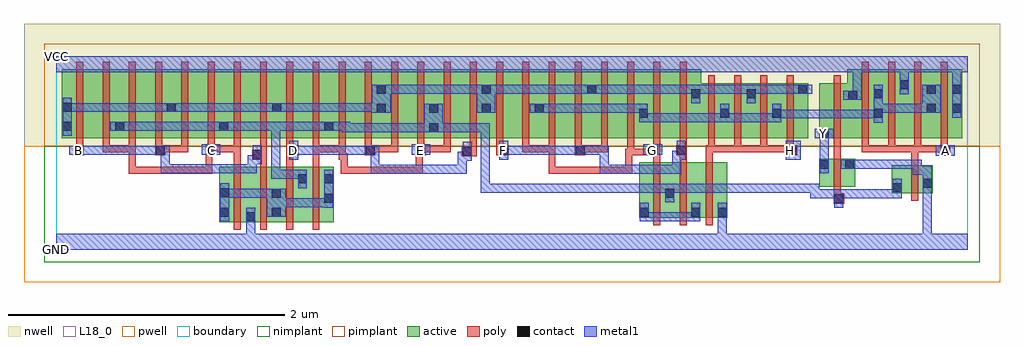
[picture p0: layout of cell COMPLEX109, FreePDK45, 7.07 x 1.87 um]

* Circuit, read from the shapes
.subckt COMPLEX109 A B C D E F G GND H VCC Y
M1 GND C n1 VSUBS nfet w=0.4u l=0.05u
M2 n1 B GND VSUBS nfet w=0.4u l=0.05u
M3 n2 D n1 VSUBS nfet w=0.4u l=0.05u
M4 n1 E n2 VSUBS nfet w=0.4u l=0.05u
M5 n2 G n3 VSUBS nfet w=0.4u l=0.05u
M6 n3 F n2 VSUBS nfet w=0.4u l=0.05u
M7 GND H n3 VSUBS nfet w=0.4u l=0.05u
M8 GND n2 Y VSUBS nfet w=0.2u l=0.05u
M9 GND A n2 VSUBS nfet w=0.2u l=0.05u
M10 n4 B n5 n6 pfet w=0.5u l=0.05u
M11 n2 C n4 n6 pfet w=0.5u l=0.05u
M12 n7 C n2 n6 pfet w=0.5u l=0.05u
M13 n5 B n7 n6 pfet w=0.5u l=0.05u
M14 n8 B n5 n6 pfet w=0.5u l=0.05u
M15 n2 C n8 n6 pfet w=0.5u l=0.05u
M16 n9 C n2 n6 pfet w=0.5u l=0.05u
M17 n5 B n9 n6 pfet w=0.5u l=0.05u
M18 n10 D n5 n6 pfet w=0.5u l=0.05u
M19 n2 E n10 n6 pfet w=0.5u l=0.05u
M20 n11 E n2 n6 pfet w=0.5u l=0.05u
M21 n5 D n11 n6 pfet w=0.5u l=0.05u
M22 n12 D n5 n6 pfet w=0.5u l=0.05u
M23 n2 E n12 n6 pfet w=0.5u l=0.05u
M24 n13 E n2 n6 pfet w=0.5u l=0.05u
M25 n5 D n13 n6 pfet w=0.5u l=0.05u
M26 n14 F n5 n6 pfet w=0.5u l=0.05u
M27 n15 G n14 n6 pfet w=0.5u l=0.05u
M28 n16 G n15 n6 pfet w=0.5u l=0.05u
M29 n5 F n16 n6 pfet w=0.5u l=0.05u
M30 n17 F n5 n6 pfet w=0.5u l=0.05u
M31 n15 G n17 n6 pfet w=0.5u l=0.05u
M32 n18 G n15 n6 pfet w=0.5u l=0.05u
M33 n5 F n18 n6 pfet w=0.5u l=0.05u
M34 n15 H n5 n6 pfet w=0.4u l=0.05u m=4
M35 VCC n2 Y n6 pfet w=0.4u l=0.05u
M36 n15 A VCC n6 pfet w=0.5u l=0.05u m=4
.ends

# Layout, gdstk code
import gdstk
lib = gdstk.Library(unit=1e-6, precision=1e-09)
def R(c, l, rs):  # rectangles x0, y0, x1, y1
    for r in rs: c.add(gdstk.rectangle(r[:2], r[2:], *l))
def A(c, l, x, y, w, h, nx, ny, dx, dy):  # array of equal rectangles
    R(c, l, [(x+i*dx, y+j*dy, x+i*dx+w, y+j*dy+h) for i in range(nx) for j in range(ny)])
active = (1, 0)
pwell = (2, 0)
nwell = (3, 0)
nimplant = (4, 0)
pimplant = (5, 0)
poly = (9, 0)
contact = (10, 0)
metal1 = (11, 0)
L18_0 = (18, 0)
boundary = (235, 0)

complex109 = lib.new_cell('COMPLEX109')
A(complex109, active, 1.175, 0.807, 0.075, 0.263, 3, 1, 0.76, 0)
A(complex109, active, 1.785, 0.807, 0.225, 0.5, 4, 1, 0.38, 0)
A(complex109, active, 1.935, 0.807, 0.23, 0.5, 4, 1, 0.38, 0)
R(complex109, active, [(1.18,0.2,1.445,0.6), (1.18,0.2,1.255,0.492), (1.37,0.2,1.63,0.6), (1.37,0.2,1.445,0.492), (1.555,0.2,1.82,0.6), (1.555,0.2,1.63,0.492), (1.745,0.2,2.01,0.6), (1.935,0.2,2.01,0.6), (4.22,0.232,4.295,0.492), (4.22,0.232,4.48,0.632), (4.405,0.232,4.67,0.632), (4.595,0.232,4.86,0.632), (4.595,0.232,4.67,0.492), (4.785,0.232,4.86,0.632), (1.745,0.295,1.82,0.55), (4.405,0.295,4.48,0.492), (6.052,0.41,6.127,0.61), (6.052,0.41,6.347,0.61), (6.272,0.41,6.347,0.61), (5.525,0.457,5.785,0.657), (5.71,0.457,5.785,0.657), (5.525,0.495,5.6,0.657), (0.04,0.807,0.265,1.307), (0.04,0.807,0.145,1.2), (0.265,0.807,0.495,1.307), (0.42,0.807,0.495,1.07), (0.42,0.807,0.645,1.307), (0.645,0.807,0.87,1.307), (0.795,0.807,0.87,1.2), (0.795,0.807,1.025,1.307), (1.025,0.807,1.25,1.307), (1.175,0.807,1.405,1.307), (1.405,0.807,1.635,1.307), (1.56,0.807,1.635,1.2), (1.56,0.807,1.785,1.307), (2.315,0.807,2.39,1.2), (3.075,0.807,3.15,1.2), (3.305,0.807,3.535,1.307), (3.46,0.807,3.535,1.07), (3.46,0.807,3.685,1.307), (3.685,0.807,3.915,1.307), (3.84,0.807,3.915,1.2), (3.84,0.807,4.065,1.307), (4.065,0.807,4.29,1.307), (4.215,0.807,4.29,1.07), (4.215,0.807,4.445,1.307), (4.445,0.807,4.67,1.307), (4.595,0.807,4.67,1.2), (4.595,0.807,4.88,1.207), (4.805,0.807,5.07,1.207), (4.805,0.807,4.88,1.07), (4.995,0.807,5.255,1.207), (4.995,0.807,5.07,1.2), (5.18,0.807,5.445,1.207), (5.18,0.807,5.255,1.07), (5.525,0.807,5.805,1.207), (5.525,0.807,5.6,0.94), (5.73,0.807,5.99,1.307), (5.915,0.807,5.99,1.2), (5.915,0.807,6.18,1.307), (6.105,0.807,6.18,1.307), (6.105,0.807,6.375,1.307), (6.3,0.807,6.56,1.307), (6.3,0.807,6.375,1.2), (6.485,0.807,6.56,1.307), (5.73,0.865,5.805,1.245), (5.37,0.907,5.445,1.2)])
R(complex109, pwell, [(-0.235,-0.235,6.835,0.75)])
R(complex109, nwell, [(-0.235,0.75,6.835,1.635)])
R(complex109, nimplant, [(-0.09,-0.09,6.69,0.75)])
R(complex109, pimplant, [(-0.09,0.75,6.69,1.49)])
A(complex109, poly, 1.285, 0.145, 0.05, 0.51, 4, 1, 0.19, 0)
A(complex109, poly, 4.325, 0.177, 0.05, 0.51, 3, 1, 0.19, 0)
A(complex109, poly, 0.145, 0.707, 0.05, 0.095, 7, 1, 0.19, 0)
A(complex109, poly, 1.665, 0.707, 0.05, 0.095, 7, 1, 0.19, 0)
A(complex109, poly, 3.185, 0.707, 0.05, 0.095, 5, 1, 0.19, 0)
A(complex109, poly, 4.72, 0.707, 0.05, 0.095, 4, 1, 0.19, 0)
A(complex109, poly, 5.835, 0.707, 0.05, 0.095, 4, 1, 0.19, 0)
A(complex109, poly, 0.145, 0.752, 0.05, 0.61, 24, 1, 0.19, 0)
A(complex109, poly, 4.72, 0.752, 0.05, 0.51, 4, 1, 0.19, 0)
A(complex109, poly, 5.835, 0.752, 0.05, 0.61, 4, 1, 0.19, 0)
R(complex109, poly, [(5.63,0.332,5.705,0.407), (6.192,0.355,6.242,0.687), (5.63,0.357,5.68,0.452), (5.63,0.402,5.68,0.712), (0.525,0.55,0.575,0.6), (0.525,0.55,0.575,0.6), (0.525,0.55,0.575,0.6), (0.525,0.55,0.575,0.757), (0.525,0.55,0.79,0.6), (0.74,0.55,0.79,0.6), (0.74,0.55,0.922,0.6), (0.872,0.55,0.922,0.6), (0.872,0.55,0.922,0.6), (0.872,0.55,0.922,0.6), (0.872,0.55,1.13,0.6), (1.08,0.55,1.13,0.6), (1.08,0.55,1.13,0.6), (1.08,0.55,1.13,0.6), (1.08,0.55,1.13,0.6), (1.08,0.55,1.13,0.6), (1.08,0.55,1.13,0.732), (2.06,0.55,2.31,0.6), (2.06,0.55,2.11,0.7), (2.26,0.55,2.31,0.6), (2.26,0.55,2.442,0.6), (2.392,0.55,2.442,0.6), (2.392,0.55,2.442,0.6), (2.392,0.55,2.442,0.6), (2.392,0.55,2.652,0.6), (2.602,0.55,2.652,0.6), (2.602,0.55,2.652,0.6), (2.602,0.55,2.652,0.6), (2.602,0.55,2.652,0.6), (2.602,0.55,2.652,0.6), (2.602,0.55,2.652,0.732), (3.565,0.55,3.615,0.6), (3.565,0.55,3.615,0.6), (3.565,0.55,3.615,0.6), (3.565,0.55,3.747,0.6), (3.565,0.55,3.615,0.757), (3.697,0.55,3.747,0.6), (3.697,0.55,3.965,0.6), (3.915,0.55,3.965,0.6), (3.915,0.55,3.965,0.6), (3.915,0.55,3.965,0.6), (3.915,0.55,4.17,0.6), (4.12,0.55,4.17,0.6), (4.12,0.55,4.17,0.6), (4.12,0.55,4.17,0.6), (4.12,0.55,4.17,0.732), (1.285,0.605,1.335,0.757), (1.475,0.605,1.525,0.7), (1.665,0.605,1.715,0.732), (1.855,0.605,1.905,0.757), (4.325,0.637,4.375,0.732), (4.515,0.637,4.565,0.732), (4.705,0.637,4.755,0.757), (6.192,0.637,6.242,0.757), (1.417,0.65,1.525,0.725), (2.045,0.65,2.095,0.7), (2.045,0.65,2.11,0.7), (2.045,0.65,2.095,0.757), (5.63,0.662,5.68,0.757), (1.475,0.675,1.525,0.802), (2.937,0.675,3.045,0.75), (0.122,0.682,0.197,0.757), (0.715,0.682,0.79,0.757), (1.08,0.682,1.157,0.757), (1.665,0.682,1.757,0.757), (2.235,0.682,2.31,0.757), (2.602,0.682,2.677,0.757), (3.185,0.682,3.277,0.757), (3.755,0.682,3.832,0.757), (4.12,0.682,4.17,0.732), (4.12,0.682,4.17,0.732), (4.12,0.682,4.185,0.732), (4.135,0.682,4.185,0.802), (4.135,0.682,4.335,0.732), (4.285,0.682,4.335,0.732), (4.285,0.682,4.335,0.732), (4.285,0.682,4.375,0.757), (4.49,0.682,4.565,0.757), (5.29,0.682,5.365,0.757), (6.397,0.682,6.475,0.757), (2.995,0.7,3.045,0.802), (0.335,0.707,0.385,0.757), (0.335,0.707,0.442,0.757), (0.392,0.707,0.442,0.757), (0.392,0.707,0.575,0.757), (0.525,0.707,0.575,0.757), (0.525,0.707,0.575,0.757), (0.525,0.707,0.575,0.757), (0.74,0.707,0.79,0.757), (0.74,0.707,0.79,0.757), (0.74,0.707,0.955,0.757), (0.905,0.707,0.955,0.757), (1.107,0.707,1.335,0.757), (1.285,0.707,1.335,0.757), (1.285,0.707,1.335,0.757), (1.285,0.707,1.335,0.757), (1.855,0.707,1.905,0.757), (1.855,0.707,1.905,0.757), (1.855,0.707,1.905,0.757), (1.855,0.707,2.095,0.757), (2.045,0.707,2.095,0.757), (2.045,0.707,2.095,0.757), (2.045,0.707,2.095,0.757), (2.26,0.707,2.475,0.757), (2.425,0.707,2.475,0.757), (2.425,0.707,2.475,0.757), (2.425,0.707,2.475,0.757), (2.627,0.707,2.855,0.757), (2.805,0.707,2.855,0.757), (2.805,0.707,2.855,0.757), (2.805,0.707,2.855,0.757), (3.375,0.707,3.425,0.757), (3.375,0.707,3.425,0.757), (3.375,0.707,3.425,0.757), (3.375,0.707,3.615,0.757), (3.565,0.707,3.615,0.757), (3.565,0.707,3.615,0.757), (3.565,0.707,3.615,0.757), (3.782,0.707,3.995,0.757), (3.945,0.707,3.995,0.757), (3.945,0.707,3.995,0.757), (3.945,0.707,3.995,0.757), (4.325,0.707,4.375,0.802), (4.515,0.707,4.565,0.802), (4.705,0.707,4.77,0.757), (4.72,0.707,4.827,0.757), (4.777,0.707,4.827,0.757), (4.777,0.707,4.96,0.757), (4.91,0.707,4.96,0.757), (4.91,0.707,4.96,0.757), (4.91,0.707,4.96,0.757), (4.91,0.707,5.15,0.757), (5.1,0.707,5.15,0.757), (5.1,0.707,5.15,0.757), (5.1,0.707,5.15,0.757), (5.1,0.707,5.34,0.757), (5.63,0.707,5.68,0.802), (5.63,0.707,5.68,0.757), (5.835,0.707,5.885,0.757), (5.835,0.707,6.075,0.757), (6.025,0.707,6.075,0.757), (6.025,0.707,6.075,0.757), (6.025,0.707,6.075,0.757), (6.025,0.707,6.242,0.757), (6.192,0.707,6.242,0.757), (6.192,0.707,6.242,0.757), (6.192,0.707,6.265,0.757), (6.215,0.707,6.447,0.757), (6.397,0.707,6.447,0.757), (6.397,0.707,6.447,0.757), (5.63,0.752,5.68,1.262)])
R(complex109, contact, [(1.375,0.205,1.44,0.27), (1.56,0.237,1.625,0.302), (1.185,0.24,1.25,0.305), (4.225,0.24,4.29,0.305), (4.6,0.24,4.665,0.305), (4.79,0.24,4.855,0.305), (5.635,0.337,5.7,0.402), (1.94,0.34,2.005,0.405), (1.56,0.377,1.625,0.442), (4.41,0.377,4.475,0.442), (1.185,0.38,1.25,0.445), (6.057,0.415,6.122,0.48), (6.277,0.45,6.342,0.515), (1.75,0.48,1.815,0.545), (1.94,0.48,2.005,0.545), (5.53,0.587,5.595,0.652), (5.715,0.587,5.78,0.652), (1.422,0.655,1.487,0.72), (2.942,0.68,3.007,0.745), (0.127,0.687,0.192,0.752), (0.72,0.687,0.785,0.752), (1.087,0.687,1.152,0.752), (1.687,0.687,1.752,0.752), (2.24,0.687,2.305,0.752), (2.607,0.687,2.672,0.752), (3.207,0.687,3.272,0.752), (3.762,0.687,3.827,0.752), (4.29,0.687,4.355,0.752), (4.495,0.687,4.56,0.752), (5.295,0.687,5.36,0.752), (6.405,0.687,6.47,0.752), (5.53,0.812,5.595,0.877), (2.7,0.852,2.765,0.917), (0.045,0.86,0.11,0.925), (0.425,0.86,0.49,0.925), (1.18,0.86,1.245,0.925), (1.94,0.86,2.005,0.925), (5.92,0.955,5.985,1.02), (4.22,0.957,4.285,1.022), (4.81,0.957,4.875,1.022), (5.185,0.957,5.25,1.022), (2.32,0.99,2.385,1.055), (3.08,0.99,3.145,1.055), (6.305,0.99,6.37,1.055), (6.49,0.99,6.555,1.055), (2.7,0.992,2.765,1.057), (3.465,0.992,3.53,1.057), (0.8,0.997,0.865,1.062), (1.565,0.997,1.63,1.062), (0.045,1,0.11,1.065), (5.735,1.087,5.8,1.152), (4.6,1.095,4.665,1.16), (5,1.095,5.065,1.16), (5.92,1.095,5.985,1.16), (2.32,1.13,2.385,1.195), (3.08,1.13,3.145,1.195), (3.845,1.13,3.91,1.195), (5.375,1.13,5.44,1.195), (6.305,1.13,6.37,1.195), (6.49,1.13,6.555,1.195), (6.11,1.162,6.175,1.227)])
R(complex109, metal1, [(0,0,6.6,0.115), (1.375,0.05,1.44,0.235), (1.375,0.05,1.44,0.115), (1.375,0.05,1.44,0.115), (4.79,0.05,4.855,0.115), (4.79,0.05,4.855,0.115), (4.79,0.05,4.855,0.27), (6.277,0.05,6.342,0.115), (6.277,0.05,6.342,0.115), (6.277,0.05,6.342,0.115), (6.277,0.05,6.342,0.115), (6.277,0.05,6.342,0.115), (6.277,0.05,6.342,0.115), (6.277,0.05,6.342,0.48), (1.375,0.17,1.44,0.305), (1.185,0.205,1.25,0.48), (4.225,0.205,4.29,0.27), (4.225,0.205,4.29,0.27), (4.225,0.205,4.29,0.34), (4.225,0.205,4.427,0.27), (4.362,0.205,4.427,0.27), (4.362,0.205,4.665,0.27), (4.6,0.205,4.665,0.27), (4.6,0.205,4.665,0.27), (4.6,0.205,4.665,0.34), (4.79,0.205,4.855,0.34), (1.525,0.237,1.66,0.442), (5.635,0.302,5.7,0.437), (1.94,0.305,2.005,0.58), (1.595,0.307,1.802,0.372), (1.737,0.307,1.802,0.372), (1.737,0.307,1.802,0.372), (1.737,0.307,1.802,0.372), (1.737,0.307,1.992,0.372), (1.927,0.307,1.992,0.372), (1.927,0.307,2.005,0.372), (4.41,0.342,4.475,0.477), (5.46,0.372,5.7,0.437), (5.46,0.372,5.525,0.477), (5.635,0.372,5.7,0.437), (5.635,0.372,5.7,0.437), (5.635,0.372,5.837,0.437), (5.772,0.372,5.837,0.437), (5.772,0.372,5.952,0.437), (5.887,0.372,5.952,0.437), (5.887,0.372,6.06,0.437), (5.995,0.372,6.06,0.437), (5.995,0.372,6.122,0.437), (6.057,0.372,6.122,0.437), (6.057,0.372,6.122,0.445), (1.185,0.377,1.25,0.442), (1.185,0.377,1.25,0.442), (1.185,0.377,1.44,0.442), (1.375,0.377,1.44,0.442), (1.375,0.377,1.44,0.442), (1.375,0.377,1.44,0.442), (1.375,0.377,1.59,0.442), (6.057,0.38,6.122,0.515), (3.075,0.412,3.14,0.477), (3.075,0.412,3.325,0.477), (3.075,0.412,3.14,0.917), (3.26,0.412,3.325,0.477), (3.26,0.412,3.325,0.477), (3.26,0.412,3.325,0.477), (3.26,0.412,3.462,0.477), (3.397,0.412,3.6,0.477), (3.397,0.412,3.462,0.477), (3.535,0.412,3.6,0.477), (3.535,0.412,3.6,0.477), (3.535,0.412,3.6,0.477), (3.535,0.412,3.6,0.477), (3.535,0.412,3.6,0.477), (3.535,0.412,3.737,0.477), (3.672,0.412,3.737,0.477), (3.672,0.412,3.737,0.477), (3.672,0.412,3.737,0.477), (3.672,0.412,4,0.477), (3.935,0.412,4,0.477), (3.935,0.412,4,0.477), (3.935,0.412,4,0.477), (3.935,0.412,4.137,0.477), (4.072,0.412,4.137,0.477), (4.072,0.412,4.137,0.477), (4.072,0.412,4.137,0.477), (4.072,0.412,4.29,0.477), (4.225,0.412,4.29,0.477), (4.225,0.412,4.29,0.477), (4.225,0.412,4.29,0.477), (4.225,0.412,4.475,0.477), (4.41,0.412,4.665,0.477), (4.6,0.412,4.665,0.477), (4.6,0.412,4.665,0.477), (4.6,0.412,4.665,0.477), (4.6,0.412,4.802,0.477), (4.737,0.412,4.802,0.477), (4.737,0.412,4.802,0.477), (4.737,0.412,4.802,0.477), (4.737,0.412,5.06,0.477), (4.995,0.412,5.06,0.477), (4.995,0.412,5.112,0.477), (5.047,0.412,5.112,0.477), (5.047,0.412,5.112,0.477), (5.047,0.412,5.112,0.477), (5.047,0.412,5.197,0.477), (5.132,0.412,5.197,0.477), (5.132,0.412,5.25,0.477), (5.185,0.412,5.25,0.477), (5.185,0.412,5.387,0.477), (5.322,0.412,5.525,0.477), (5.322,0.412,5.387,0.477), (5.322,0.412,5.387,0.477), (5.322,0.412,5.387,0.477), (6.277,0.415,6.342,0.55), (1.75,0.445,1.815,0.58), (6.277,0.485,6.342,0.607), (1.555,0.515,1.62,0.58), (1.555,0.515,1.62,0.58), (1.555,0.515,1.62,0.58), (1.555,0.515,1.815,0.58), (1.555,0.515,1.62,0.892), (1.75,0.515,1.815,0.58), (1.75,0.515,1.815,0.58), (6.202,0.542,6.342,0.607), (6.202,0.542,6.267,0.652), (6.277,0.542,6.342,0.607), (2.275,0.55,2.34,0.615), (2.275,0.55,2.487,0.615), (2.275,0.55,2.34,0.752), (2.422,0.55,2.487,0.615), (2.422,0.55,2.557,0.615), (2.492,0.55,2.695,0.615), (2.492,0.55,2.557,0.615), (2.63,0.55,2.695,0.615), (2.63,0.55,2.695,0.615), (2.63,0.55,2.695,0.615), (2.63,0.55,2.832,0.615), (2.767,0.55,2.832,0.615), (2.767,0.55,2.972,0.615), (2.907,0.55,2.972,0.615), (2.907,0.55,2.972,0.71), (3.935,0.55,4,0.615), (3.935,0.55,4,0.615), (3.935,0.55,4,0.615), (3.935,0.55,4.137,0.615), (3.935,0.55,4,0.752), (4.072,0.55,4.275,0.615), (4.072,0.55,4.137,0.615), (4.072,0.55,4.137,0.615), (4.072,0.55,4.137,0.615), (4.21,0.55,4.275,0.615), (4.21,0.55,4.275,0.615), (4.21,0.55,4.275,0.615), (4.21,0.55,4.527,0.615), (4.462,0.55,4.527,0.615), (4.462,0.55,4.527,0.717), (0.755,0.552,0.82,0.617), (0.755,0.552,0.957,0.617), (0.755,0.552,0.82,0.752), (0.892,0.552,0.957,0.617), (0.892,0.552,1.037,0.617), (0.972,0.552,1.037,0.617), (0.972,0.552,1.095,0.617), (1.03,0.552,1.095,0.617), (1.03,0.552,1.302,0.617), (1.237,0.552,1.302,0.617), (1.237,0.552,1.302,0.617), (1.237,0.552,1.302,0.617), (1.237,0.552,1.452,0.617), (1.387,0.552,1.452,0.617), (1.387,0.552,1.452,0.685), (5.53,0.552,5.595,0.687), (5.68,0.587,5.815,0.652), (5.75,0.587,5.837,0.652), (5.772,0.587,5.837,0.652), (5.772,0.587,5.952,0.652), (5.887,0.587,5.952,0.652), (5.887,0.587,6.06,0.652), (5.995,0.587,6.06,0.652), (5.995,0.587,6.197,0.652), (6.132,0.587,6.197,0.652), (6.132,0.587,6.267,0.652), (1.387,0.62,1.452,0.685), (1.387,0.62,1.487,0.685), (1.422,0.62,1.487,0.755), (5.53,0.622,5.595,0.872), (2.907,0.645,2.972,0.71), (2.907,0.645,3.007,0.71), (2.942,0.645,3.007,0.78), (1.687,0.652,1.752,0.787), (3.207,0.652,3.272,0.787), (4.462,0.652,4.527,0.717), (4.462,0.652,4.56,0.717), (4.495,0.652,4.56,0.787), (5.282,0.652,5.392,0.787), (6.37,0.68,6.507,0.757), (0.092,0.687,0.227,0.752), (0.162,0.687,0.247,0.752), (0.182,0.687,0.385,0.752), (0.182,0.687,0.247,0.752), (0.32,0.687,0.385,0.752), (0.32,0.687,0.385,0.752), (0.32,0.687,0.385,0.752), (0.32,0.687,0.545,0.752), (0.48,0.687,0.545,0.752), (0.48,0.687,0.682,0.752), (0.617,0.687,0.682,0.752), (0.617,0.687,0.75,0.752), (0.685,0.687,0.82,0.752), (0.755,0.687,0.82,0.752), (0.755,0.687,0.82,0.752), (1.052,0.687,1.187,0.765), (1.687,0.687,1.802,0.752), (1.737,0.687,1.802,0.752), (1.737,0.687,1.952,0.752), (1.887,0.687,1.952,0.752), (1.887,0.687,1.952,0.752), (1.887,0.687,1.952,0.752), (1.887,0.687,2.132,0.752), (2.067,0.687,2.132,0.752), (2.067,0.687,2.202,0.752), (2.137,0.687,2.202,0.752), (2.137,0.687,2.27,0.752), (2.205,0.687,2.34,0.752), (2.275,0.687,2.34,0.752), (2.275,0.687,2.34,0.752), (2.572,0.687,2.707,0.765), (3.207,0.687,3.317,0.752), (3.252,0.687,3.317,0.752), (3.252,0.687,3.462,0.752), (3.397,0.687,3.6,0.752), (3.397,0.687,3.462,0.752), (3.397,0.687,3.462,0.752), (3.397,0.687,3.462,0.752), (3.535,0.687,3.6,0.752), (3.535,0.687,3.737,0.752), (3.672,0.687,3.737,0.752), (3.672,0.687,3.792,0.752), (3.727,0.687,3.862,0.752), (3.797,0.687,4,0.752), (3.935,0.687,4,0.752), (4.252,0.687,4.39,0.765), (5.492,0.807,5.63,0.877), (5.53,0.807,5.595,0.872), (5.53,0.807,5.595,0.872), (0.045,0.825,0.11,1.1), (1.555,0.827,1.62,0.892), (1.555,0.827,1.62,0.925), (2.065,0.852,2.13,0.925), (2.065,0.852,2.177,0.917), (2.112,0.852,2.177,0.917), (2.112,0.852,2.35,0.917), (2.285,0.852,2.35,0.917), (2.285,0.852,2.35,0.917), (2.285,0.852,2.35,0.917), (2.285,0.852,2.487,0.917), (2.422,0.852,2.487,0.917), (2.422,0.852,2.557,0.917), (2.492,0.852,2.557,0.917), (2.492,0.852,2.625,0.917), (2.56,0.852,2.625,0.917), (2.56,0.852,2.73,0.917), (2.665,0.852,2.8,1.057), (2.735,0.852,2.832,0.917), (2.767,0.852,2.832,0.917), (2.767,0.852,2.972,0.917), (2.907,0.852,2.972,0.917), (2.907,0.852,2.972,0.917), (2.907,0.852,2.972,0.917), (2.907,0.852,3.14,0.917), (3.075,0.852,3.14,0.917), (3.075,0.852,3.14,0.917), (3.075,0.852,3.14,0.917), (3.075,0.852,3.14,0.917), (3.075,0.852,3.14,0.917), (0.39,0.86,0.525,0.925), (0.46,0.86,0.525,0.925), (0.46,0.86,0.525,0.925), (0.46,0.86,0.682,0.925), (0.617,0.86,0.682,0.925), (0.617,0.86,0.682,0.925), (0.617,0.86,0.682,0.925), (0.617,0.86,0.9,0.925), (0.835,0.86,0.9,0.925), (0.835,0.86,0.957,0.925), (0.892,0.86,0.957,0.925), (0.892,0.86,1.072,0.925), (1.007,0.86,1.072,0.925), (1.007,0.86,1.095,0.925), (1.03,0.86,1.095,0.925), (1.03,0.86,1.21,0.925), (1.145,0.86,1.28,0.925), (1.215,0.86,1.302,0.925), (1.237,0.86,1.302,0.925), (1.237,0.86,1.452,0.925), (1.387,0.86,1.452,0.925), (1.387,0.86,1.452,0.925), (1.387,0.86,1.452,0.925), (1.387,0.86,1.62,0.925), (1.555,0.86,1.62,0.925), (1.555,0.86,1.815,0.925), (1.75,0.86,1.815,0.925), (1.75,0.86,1.815,0.925), (1.75,0.86,1.815,0.925), (1.75,0.86,1.97,0.925), (1.905,0.86,1.97,0.925), (1.905,0.86,1.97,0.925), (1.905,0.86,2.04,0.925), (1.975,0.86,2.13,0.925), (5.92,0.92,5.985,1.195), (4.22,0.922,4.285,0.987), (4.22,0.922,4.285,0.987), (4.22,0.922,4.285,1.057), (4.22,0.922,4.427,0.987), (4.362,0.922,4.427,0.987), (4.362,0.922,4.665,0.987), (4.6,0.922,4.665,0.987), (4.6,0.922,4.665,0.987), (4.6,0.922,4.665,0.987), (4.6,0.922,4.875,0.987), (4.81,0.922,4.875,0.987), (4.81,0.922,4.875,0.987), (4.81,0.922,4.875,1.057), (4.81,0.922,5.06,0.987), (4.995,0.922,5.06,0.987), (4.995,0.922,5.06,0.987), (4.995,0.922,5.06,0.987), (4.995,0.922,5.197,0.987), (5.132,0.922,5.197,0.987), (5.132,0.922,5.25,0.987), (5.185,0.922,5.25,1.057), (5.185,0.95,5.335,1.015), (5.27,0.95,5.335,1.015), (5.27,0.95,5.562,1.015), (5.497,0.95,5.7,1.015), (5.497,0.95,5.562,1.015), (5.497,0.95,5.562,1.015), (5.497,0.95,5.562,1.015), (5.635,0.95,5.7,1.015), (5.635,0.95,5.7,1.015), (5.635,0.95,5.7,1.015), (5.635,0.95,5.847,1.015), (5.782,0.95,5.985,1.015), (5.782,0.95,5.847,1.015), (6.49,0.955,6.555,1.23), (2.285,0.99,2.42,1.195), (3.045,0.99,3.18,1.195), (5.92,0.99,5.985,1.055), (5.92,0.99,5.985,1.055), (5.92,0.99,6.197,1.055), (6.132,0.99,6.335,1.055), (6.132,0.99,6.197,1.055), (6.132,0.99,6.197,1.055), (6.132,0.99,6.197,1.055), (6.27,0.99,6.405,1.195), (3.43,0.992,3.565,1.057), (3.5,0.992,3.6,1.057), (3.535,0.992,3.6,1.057), (3.535,0.992,3.737,1.057), (3.672,0.992,3.737,1.057), (3.672,0.992,3.737,1.057), (3.672,0.992,3.737,1.057), (3.672,0.992,4,1.057), (3.935,0.992,4,1.057), (3.935,0.992,4,1.057), (3.935,0.992,4,1.057), (3.935,0.992,4.137,1.057), (4.072,0.992,4.137,1.057), (4.072,0.992,4.137,1.057), (4.072,0.992,4.137,1.057), (4.072,0.992,4.285,1.057), (0.045,0.997,0.11,1.062), (0.045,0.997,0.11,1.062), (0.045,0.997,0.247,1.062), (0.182,0.997,0.247,1.062), (0.182,0.997,0.387,1.062), (0.322,0.997,0.387,1.062), (0.322,0.997,0.387,1.062), (0.322,0.997,0.387,1.062), (0.322,0.997,0.545,1.062), (0.48,0.997,0.545,1.062), (0.48,0.997,0.682,1.062), (0.617,0.997,0.682,1.062), (0.617,0.997,0.682,1.062), (0.617,0.997,0.682,1.062), (0.617,0.997,0.83,1.062), (0.765,0.997,0.9,1.062), (0.835,0.997,0.957,1.062), (0.892,0.997,0.957,1.062), (0.892,0.997,1.072,1.062), (1.007,0.997,1.072,1.062), (1.007,0.997,1.095,1.062), (1.03,0.997,1.095,1.062), (1.03,0.997,1.302,1.062), (1.237,0.997,1.44,1.062), (1.237,0.997,1.302,1.062), (1.237,0.997,1.302,1.062), (1.237,0.997,1.302,1.062), (1.375,0.997,1.44,1.062), (1.375,0.997,1.44,1.062), (1.375,0.997,1.44,1.062), (1.375,0.997,1.595,1.062), (1.53,0.997,1.665,1.062), (1.6,0.997,1.665,1.062), (1.6,0.997,1.665,1.062), (1.6,0.997,1.802,1.062), (1.737,0.997,1.802,1.062), (1.737,0.997,1.952,1.062), (1.887,0.997,1.952,1.062), (1.887,0.997,1.952,1.062), (1.887,0.997,1.952,1.062), (1.887,0.997,2.132,1.062), (2.067,0.997,2.132,1.062), (2.067,0.997,2.177,1.062), (2.112,0.997,2.177,1.062), (2.112,0.997,2.35,1.062), (2.285,0.997,2.35,1.062), (2.285,0.997,2.35,1.062), (4.6,1.06,4.665,1.195), (5,1.06,5.065,1.195), (5.7,1.087,5.835,1.152), (5.77,1.087,5.835,1.35), (6.11,1.127,6.175,1.262), (2.355,1.13,2.487,1.195), (2.422,1.13,2.487,1.195), (2.422,1.13,2.557,1.195), (2.492,1.13,2.695,1.195), (2.492,1.13,2.557,1.195), (2.63,1.13,2.695,1.195), (2.63,1.13,2.835,1.195), (2.77,1.13,2.835,1.195), (2.77,1.13,2.835,1.195), (2.77,1.13,2.835,1.195), (2.77,1.13,2.972,1.195), (2.907,1.13,3.11,1.195), (2.907,1.13,2.972,1.195), (3.045,1.13,3.11,1.195), (3.045,1.13,3.11,1.195), (3.115,1.13,3.325,1.195), (3.26,1.13,3.325,1.195), (3.26,1.13,3.325,1.195), (3.26,1.13,3.325,1.195), (3.26,1.13,3.462,1.195), (3.397,1.13,3.6,1.195), (3.397,1.13,3.462,1.195), (3.397,1.13,3.462,1.195), (3.397,1.13,3.462,1.195), (3.535,1.13,3.6,1.195), (3.535,1.13,3.737,1.195), (3.672,1.13,3.875,1.195), (3.672,1.13,3.737,1.195), (3.672,1.13,3.737,1.195), (3.672,1.13,3.737,1.195), (3.81,1.13,3.945,1.195), (3.88,1.13,4,1.195), (3.935,1.13,4,1.195), (3.935,1.13,4.137,1.195), (4.072,1.13,4.137,1.195), (4.072,1.13,4.137,1.195), (4.072,1.13,4.137,1.195), (4.072,1.13,4.29,1.195), (4.225,1.13,4.29,1.195), (4.225,1.13,4.29,1.195), (4.225,1.13,4.29,1.195), (4.225,1.13,4.427,1.195), (4.362,1.13,4.427,1.195), (4.362,1.13,4.665,1.195), (4.6,1.13,4.665,1.195), (4.6,1.13,4.665,1.195), (4.6,1.13,4.922,1.195), (4.857,1.13,5.06,1.195), (4.857,1.13,4.922,1.195), (4.857,1.13,4.922,1.195), (4.857,1.13,4.922,1.195), (4.995,1.13,5.06,1.195), (4.995,1.13,5.065,1.195), (5,1.13,5.197,1.195), (5.132,1.13,5.197,1.195), (5.132,1.13,5.25,1.195), (5.185,1.13,5.25,1.195), (5.185,1.13,5.387,1.195), (5.322,1.13,5.387,1.195), (5.322,1.13,5.405,1.195), (5.34,1.13,5.475,1.195), (6.49,1.165,6.555,1.35), (6.11,1.197,6.175,1.35), (0,1.285,6.6,1.4)])
R(complex109, L18_0, [(0,0,6.6,0.115), (1.375,0.05,1.44,0.115), (1.375,0.05,1.44,0.115), (1.375,0.05,1.44,0.235), (4.79,0.05,4.855,0.115), (4.79,0.05,4.855,0.115), (4.79,0.05,4.855,0.27), (6.277,0.05,6.342,0.115), (6.277,0.05,6.342,0.115), (6.277,0.05,6.342,0.115), (6.277,0.05,6.342,0.115), (6.277,0.05,6.342,0.115), (6.277,0.05,6.342,0.115), (6.277,0.05,6.342,0.48), (1.375,0.17,1.44,0.305), (4.79,0.205,4.855,0.34), (6.277,0.415,6.342,0.55), (6.277,0.485,6.342,0.607), (6.202,0.542,6.267,0.652), (6.202,0.542,6.342,0.607), (6.277,0.542,6.342,0.607), (2.275,0.55,2.34,0.615), (2.275,0.55,2.34,0.752), (2.275,0.55,2.487,0.615), (2.422,0.55,2.557,0.615), (2.422,0.55,2.487,0.615), (2.492,0.55,2.557,0.615), (2.492,0.55,2.695,0.615), (2.63,0.55,2.695,0.615), (2.63,0.55,2.695,0.615), (2.63,0.55,2.695,0.615), (2.63,0.55,2.832,0.615), (2.767,0.55,2.832,0.615), (2.767,0.55,2.972,0.615), (2.907,0.55,2.972,0.615), (2.907,0.55,2.972,0.71), (3.935,0.55,4,0.615), (3.935,0.55,4,0.615), (3.935,0.55,4,0.615), (3.935,0.55,4.137,0.615), (3.935,0.55,4,0.752), (4.072,0.55,4.137,0.615), (4.072,0.55,4.137,0.615), (4.072,0.55,4.137,0.615), (4.072,0.55,4.275,0.615), (4.21,0.55,4.275,0.615), (4.21,0.55,4.275,0.615), (4.21,0.55,4.275,0.615), (4.21,0.55,4.527,0.615), (4.462,0.55,4.527,0.615), (4.462,0.55,4.527,0.717), (0.755,0.552,0.82,0.617), (0.755,0.552,0.957,0.617), (0.755,0.552,0.82,0.752), (0.892,0.552,0.957,0.617), (0.892,0.552,1.037,0.617), (0.972,0.552,1.037,0.617), (0.972,0.552,1.095,0.617), (1.03,0.552,1.095,0.617), (1.03,0.552,1.302,0.617), (1.237,0.552,1.302,0.617), (1.237,0.552,1.302,0.617), (1.237,0.552,1.302,0.617), (1.237,0.552,1.452,0.617), (1.387,0.552,1.452,0.617), (1.387,0.552,1.452,0.685), (5.53,0.552,5.595,0.687), (5.68,0.587,5.815,0.652), (5.75,0.587,5.837,0.652), (5.772,0.587,5.837,0.652), (5.772,0.587,5.952,0.652), (5.887,0.587,5.952,0.652), (5.887,0.587,6.06,0.652), (5.995,0.587,6.06,0.652), (5.995,0.587,6.197,0.652), (6.132,0.587,6.267,0.652), (6.132,0.587,6.197,0.652), (1.387,0.62,1.452,0.685), (1.387,0.62,1.487,0.685), (1.422,0.62,1.487,0.755), (5.53,0.622,5.595,0.872), (2.907,0.645,2.972,0.71), (2.907,0.645,3.007,0.71), (2.942,0.645,3.007,0.78), (1.687,0.652,1.752,0.787), (3.207,0.652,3.272,0.787), (4.462,0.652,4.527,0.717), (4.462,0.652,4.56,0.717), (4.495,0.652,4.56,0.787), (5.282,0.652,5.392,0.787), (6.37,0.68,6.507,0.757), (0.092,0.687,0.227,0.752), (0.127,0.687,0.192,0.752), (0.162,0.687,0.247,0.752), (0.182,0.687,0.247,0.752), (0.182,0.687,0.385,0.752), (0.32,0.687,0.385,0.752), (0.32,0.687,0.385,0.752), (0.32,0.687,0.385,0.752), (0.32,0.687,0.545,0.752), (0.48,0.687,0.545,0.752), (0.48,0.687,0.682,0.752), (0.617,0.687,0.682,0.752), (0.617,0.687,0.75,0.752), (0.685,0.687,0.82,0.752), (0.755,0.687,0.82,0.752), (0.755,0.687,0.82,0.752), (1.052,0.687,1.187,0.765), (1.087,0.687,1.152,0.752), (1.687,0.687,1.752,0.752), (1.687,0.687,1.802,0.752), (1.737,0.687,1.802,0.752), (1.737,0.687,1.952,0.752), (1.887,0.687,1.952,0.752), (1.887,0.687,1.952,0.752), (1.887,0.687,1.952,0.752), (1.887,0.687,2.132,0.752), (2.067,0.687,2.202,0.752), (2.067,0.687,2.132,0.752), (2.137,0.687,2.202,0.752), (2.137,0.687,2.27,0.752), (2.205,0.687,2.34,0.752), (2.275,0.687,2.34,0.752), (2.275,0.687,2.34,0.752), (2.572,0.687,2.707,0.765), (2.607,0.687,2.672,0.752), (3.207,0.687,3.272,0.752), (3.207,0.687,3.317,0.752), (3.252,0.687,3.317,0.752), (3.252,0.687,3.462,0.752), (3.397,0.687,3.462,0.752), (3.397,0.687,3.462,0.752), (3.397,0.687,3.462,0.752), (3.397,0.687,3.6,0.752), (3.535,0.687,3.6,0.752), (3.535,0.687,3.737,0.752), (3.672,0.687,3.737,0.752), (3.672,0.687,3.792,0.752), (3.727,0.687,3.862,0.752), (3.797,0.687,4,0.752), (3.935,0.687,4,0.752), (4.252,0.687,4.39,0.765), (4.287,0.687,4.352,0.752), (5.287,0.687,5.352,0.752), (6.407,0.687,6.472,0.752), (5.492,0.807,5.63,0.877), (5.527,0.807,5.592,0.872), (5.53,0.807,5.595,0.872), (5.53,0.807,5.595,0.872), (6.49,0.955,6.555,1.23), (5.7,1.087,5.835,1.152), (5.77,1.087,5.835,1.35), (6.11,1.127,6.175,1.262), (6.49,1.165,6.555,1.35), (6.11,1.197,6.175,1.35), (0,1.285,6.6,1.4)])
R(complex109, boundary, [(0,0,6.6,1.4)])
complex109.add(gdstk.Label('A', (6.44,0.72), layer=11, texttype=0))
complex109.add(gdstk.Label('B', (0.16,0.72), layer=11, texttype=0))
complex109.add(gdstk.Label('C', (1.12,0.72), layer=11, texttype=0))
complex109.add(gdstk.Label('D', (1.72,0.72), layer=11, texttype=0))
complex109.add(gdstk.Label('E', (2.64,0.72), layer=11, texttype=0))
complex109.add(gdstk.Label('F', (3.24,0.72), layer=11, texttype=0))
complex109.add(gdstk.Label('G', (4.32,0.72), layer=11, texttype=0))
complex109.add(gdstk.Label('H', (5.32,0.72), layer=11, texttype=0))
complex109.add(gdstk.Label('Y', (5.56,0.84), layer=11, texttype=0))
complex109.add(gdstk.Label('VCC', (0,1.4), layer=11, texttype=0))
complex109.add(gdstk.Label('GND', (0,0), layer=11, texttype=0))

lib.write_gds('COMPLEX109.gds')
